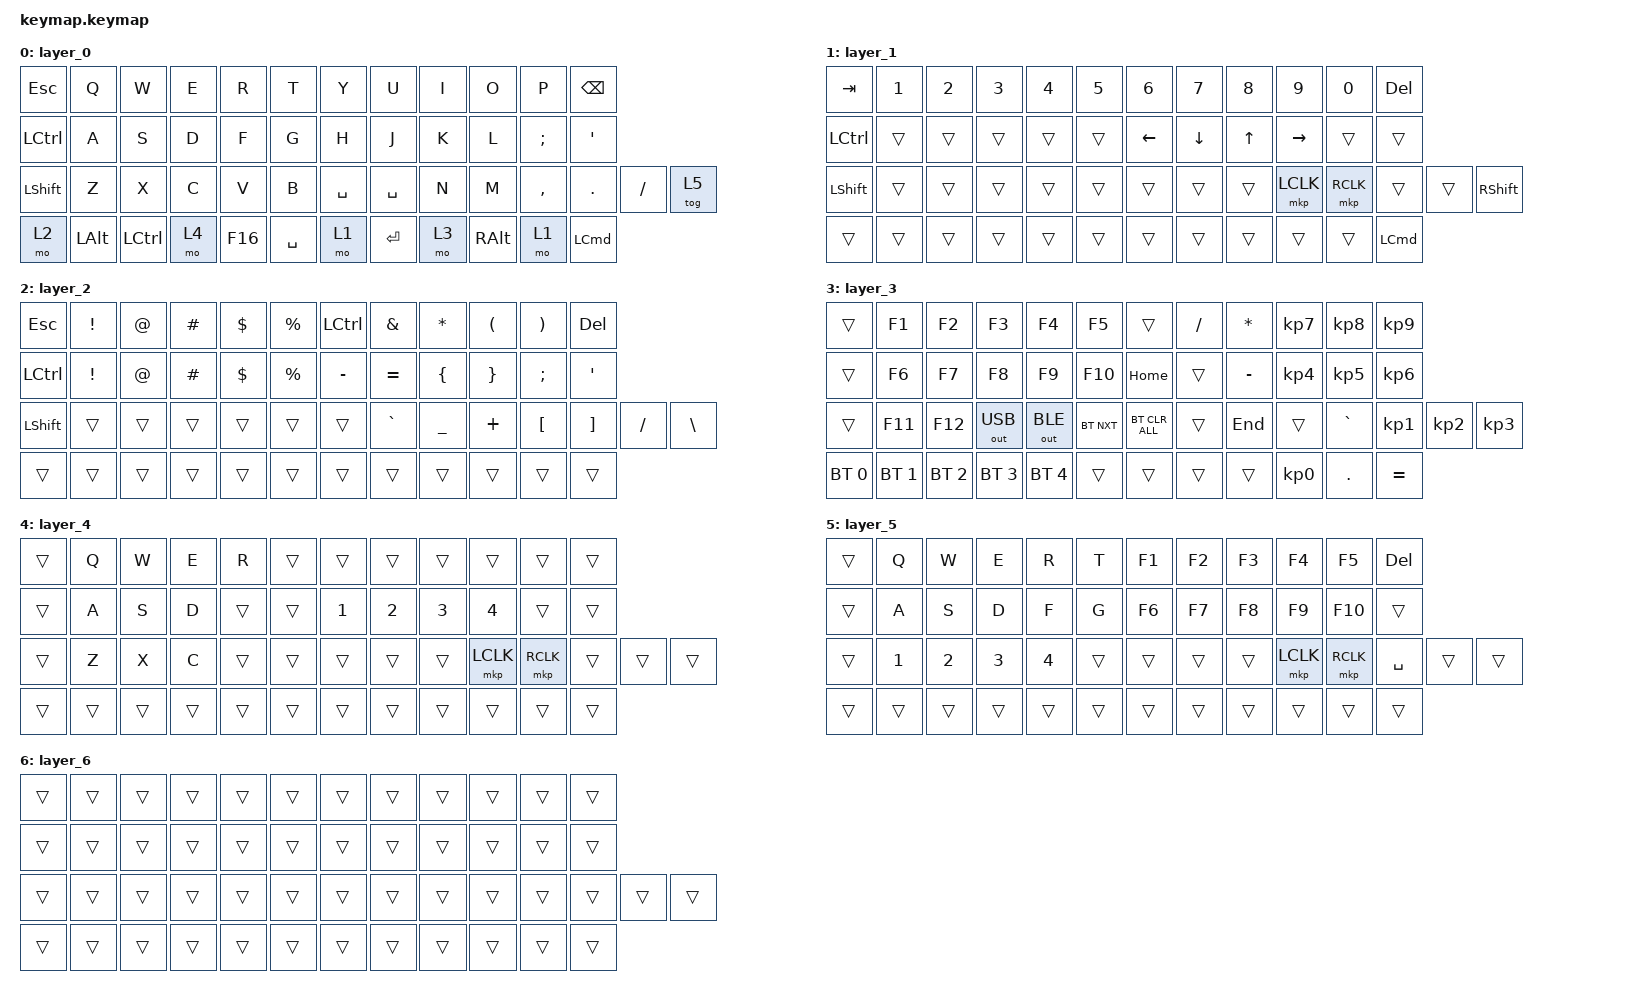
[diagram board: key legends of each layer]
#include <behaviors.dtsi>
#include <dt-bindings/zmk/bt.h>
#include <dt-bindings/zmk/keys.h>
#include <dt-bindings/zmk/outputs.h>
#include <dt-bindings/zmk/pointing.h>

/ {
    combos {
        compatible = "zmk,combos";

        bt_clear {
            bindings = <&bt BT_CLR>;
            key-positions = <28 29>;
            layers = <2>;
        };
    };

    keymap {
        compatible = "zmk,keymap";

        layer_0 {
            bindings = <
&kp ESCAPE  &kp Q         &kp W             &kp E  &kp R    &kp T      &kp Y      &kp U      &kp I  &kp O          &kp P          &kp BSPC
&kp LCTRL   &kp A         &kp S             &kp D  &kp F    &kp G      &kp H      &kp J      &kp K  &kp L          &kp SEMICOLON  &kp SINGLE_QUOTE
&kp LSHFT   &kp Z         &kp X             &kp C  &kp V    &kp B      &kp SPACE  &kp SPACE  &kp N  &kp M          &kp COMMA      &kp DOT           &kp SLASH  &tog 5
&mo 2       &kp LEFT_ALT  &kp LEFT_CONTROL  &mo 4  &kp F16  &kp SPACE  &mo 1      &kp ENTER  &mo 3  &kp RIGHT_ALT  &mo 1          &kp LEFT_COMMAND
            >;
        };

        layer_1 {
            bindings = <
&kp TAB         &kp NUMBER_1  &kp NUMBER_2  &kp NUMBER_3  &kp NUMBER_4  &kp N5  &kp NUMBER_6    &kp N7    &kp N8        &kp N9     &kp N0     &kp DEL
&kp LCTRL       &trans        &trans        &trans        &trans        &trans  &kp LEFT_ARROW  &kp DOWN  &kp UP_ARROW  &kp RIGHT  &trans     &trans
&kp LEFT_SHIFT  &trans        &trans        &trans        &trans        &trans  &trans          &trans    &trans        &mkp LCLK  &mkp RCLK  &trans            &trans  &kp RIGHT_SHIFT
&trans          &trans        &trans        &trans        &trans        &trans  &trans          &trans    &trans        &trans     &trans     &kp LEFT_COMMAND
            >;
        };

        layer_2 {
            bindings = <
&kp ESCAPE        &kp EXCLAMATION  &kp AT_SIGN  &kp HASH  &kp DOLLAR  &kp PERCENT  &kp LCTRL  &kp AMPERSAND  &kp ASTERISK    &kp LEFT_PARENTHESIS  &kp RIGHT_PARENTHESIS  &kp DELETE
&kp LEFT_CONTROL  &kp EXCL         &kp AT       &kp HASH  &kp DOLLAR  &kp PRCNT    &kp MINUS  &kp EQUAL      &kp LEFT_BRACE  &kp RIGHT_BRACE       &kp SEMICOLON          &kp SQT
&kp LEFT_SHIFT    &trans           &trans       &trans    &trans      &trans       &trans     &kp GRAVE      &kp UNDERSCORE  &kp PLUS              &kp LEFT_BRACKET       &kp RIGHT_BRACKET  &kp SLASH  &kp BACKSLASH
&trans            &trans           &trans       &trans    &trans      &trans       &trans     &trans         &trans          &trans                &trans                 &trans
            >;
        };

        layer_3 {
            bindings = <
&trans        &kp F1        &kp F2        &kp F3        &kp F4        &kp F5      &trans          &kp FSLH  &kp ASTRK  &kp KP_NUMBER_7  &kp KP_NUMBER_8  &kp KP_NUMBER_9
&trans        &kp F6        &kp F7        &kp F8        &kp F9        &kp F10     &kp HOME        &trans    &kp MINUS  &kp KP_NUMBER_4  &kp KP_NUMBER_5  &kp KP_NUMBER_6
&trans        &kp F11       &kp F12       &out OUT_USB  &out OUT_BLE  &bt BT_NXT  &bt BT_CLR_ALL  &trans    &kp END    &trans           &kp GRAVE        &kp KP_NUMBER_1  &kp KP_NUMBER_2  &kp KP_NUMBER_3
&bt BT_SEL 0  &bt BT_SEL 1  &bt BT_SEL 2  &bt BT_SEL 3  &bt BT_SEL 4  &trans      &trans          &trans    &trans     &kp KP_NUMBER_0  &kp DOT          &kp EQUAL
            >;
        };

        layer_4 {
            bindings = <
&trans  &kp Q   &kp W   &kp E   &kp R   &trans  &trans        &trans        &trans        &trans        &trans     &trans
&trans  &kp A   &kp S   &kp D   &trans  &trans  &kp NUMBER_1  &kp NUMBER_2  &kp NUMBER_3  &kp NUMBER_4  &trans     &trans
&trans  &kp Z   &kp X   &kp C   &trans  &trans  &trans        &trans        &trans        &mkp LCLK     &mkp RCLK  &trans  &trans  &trans
&trans  &trans  &trans  &trans  &trans  &trans  &trans        &trans        &trans        &trans        &trans     &trans
            >;
        };

        layer_5 {
            bindings = <
&trans  &kp Q         &kp W         &kp E         &kp R         &kp T   &kp F1  &kp F2  &kp F3  &kp F4     &kp F5     &kp DELETE
&trans  &kp A         &kp S         &kp D         &kp F         &kp G   &kp F6  &kp F7  &kp F8  &kp F9     &kp F10    &trans
&trans  &kp NUMBER_1  &kp NUMBER_2  &kp NUMBER_3  &kp NUMBER_4  &trans  &trans  &trans  &trans  &mkp LCLK  &mkp RCLK  &kp SPACE   &trans  &trans
&trans  &trans        &trans        &trans        &trans        &trans  &trans  &trans  &trans  &trans     &trans     &trans
            >;
        };

        layer_6 {
            bindings = <
&trans  &trans  &trans  &trans  &trans  &trans  &trans  &trans  &trans  &trans  &trans  &trans
&trans  &trans  &trans  &trans  &trans  &trans  &trans  &trans  &trans  &trans  &trans  &trans
&trans  &trans  &trans  &trans  &trans  &trans  &trans  &trans  &trans  &trans  &trans  &trans  &trans  &trans
&trans  &trans  &trans  &trans  &trans  &trans  &trans  &trans  &trans  &trans  &trans  &trans
            >;
        };
    };
};
